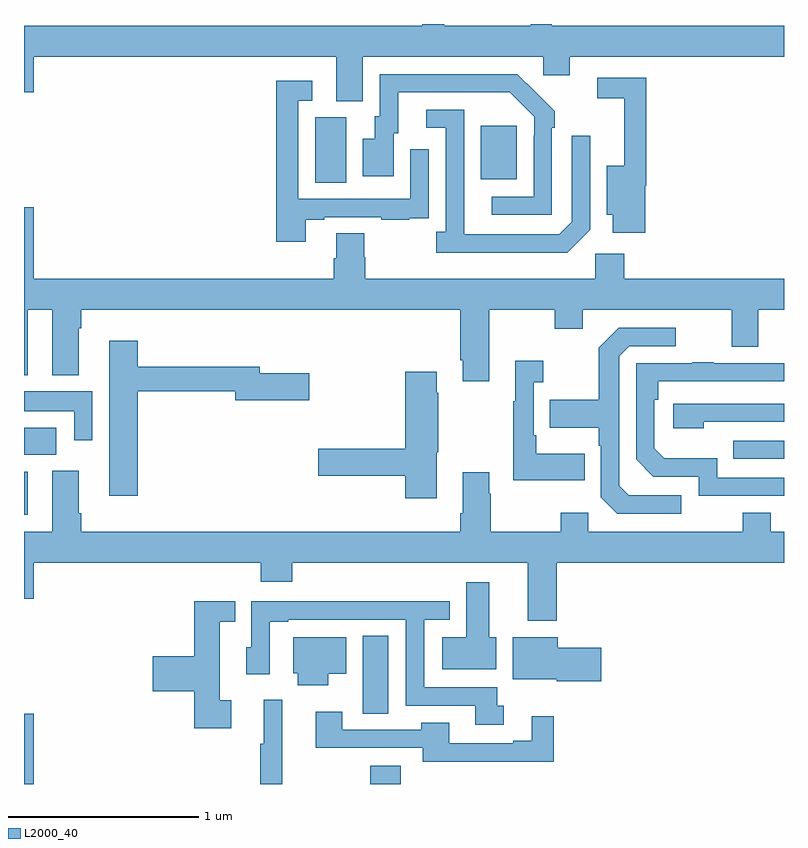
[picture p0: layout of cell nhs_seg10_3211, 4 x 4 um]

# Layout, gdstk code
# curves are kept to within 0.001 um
import gdstk
lib = gdstk.Library(unit=1e-6, precision=1e-09)
def R(c, l, rs):  # rectangles x0, y0, x1, y1
    for r in rs: c.add(gdstk.rectangle(r[:2], r[2:], *l))
def P(c, l, *ps):  # polygons
    for p in ps: c.add(gdstk.Polygon(p, *l))
L2000_40 = (2000, 40)

nhs_seg10_3211 = lib.new_cell('nhs_seg10_3211')
R(nhs_seg10_3211, L2000_40, [(285,1284.5,285.052,1284.871), (286.822,1284.5,286.982,1284.595), (286.784,1284.871,286.918,1285.28), (285,1285.917,285.019,1286.143), (288.733,1286.211,289,1286.307), (285,1286.234,285.169,1286.374), (286.532,1287.664,286.696,1288.008), (287.405,1287.683,287.593,1287.964)])
P(nhs_seg10_3211, L2000_40, [(287.733,1288.23),(287.872,1288.23),(287.872,1288.328),(289,1288.328),(289,1288.492),(287.778,1288.492),(287.778,1288.5),(287.666,1288.5),(287.666,1288.492),(287.213,1288.492),(287.213,1288.5),(287.095,1288.5),(287.095,1288.492),(285,1288.492),(285,1288.14),(285.052,1288.14),(285.052,1288.328),(286.643,1288.328),(286.643,1288.093),(286.783,1288.093),(286.783,1288.328),(287.733,1288.328)],
  [(287.778,1287.953),(287.793,1287.953),(287.793,1288.041),(287.596,1288.236),(286.872,1288.236),(286.872,1288.014),(286.847,1288.014),(286.847,1287.895),(286.784,1287.895),(286.784,1287.699),(286.945,1287.699),(286.945,1287.924),(286.969,1287.924),(286.969,1288.14),(287.557,1288.14),(287.685,1288.011),(287.685,1287.911),(287.682,1287.911),(287.682,1287.591),(287.463,1287.591),(287.463,1287.495),(287.778,1287.495)],
  [(288.269,1287.65),(288.275,1287.65),(288.275,1288.218),(288.018,1288.218),(288.018,1288.11),(288.158,1288.11),(288.158,1287.754),(288.068,1287.754),(288.068,1287.497),(288.098,1287.497),(288.098,1287.402),(288.269,1287.402)],
  [(286.483,1287.471),(286.579,1287.471),(286.579,1287.483),(286.879,1287.483),(286.879,1287.471),(287.027,1287.471),(287.027,1287.477),(287.129,1287.477),(287.129,1287.586),(287.13,1287.586),(287.13,1287.841),(287.034,1287.841),(287.034,1287.579),(286.443,1287.579),(286.443,1288.095),(286.516,1288.095),(286.516,1288.201),(286.327,1288.201),(286.327,1287.354),(286.483,1287.354)],
  [(287.979,1287.417),(287.979,1287.913),(287.883,1287.913),(287.883,1287.459),(287.817,1287.393),(287.316,1287.393),(287.316,1288.05),(287.118,1288.05),(287.118,1287.954),(287.22,1287.954),(287.22,1287.406),(287.169,1287.406),(287.169,1287.296),(287.858,1287.296)],
  [(285,1286.651),(285.019,1286.651),(285.019,1286.996),(285.149,1286.996),(285.149,1286.651),(285.289,1286.651),(285.289,1286.9),(285.302,1286.9),(285.302,1286.996),(287.297,1286.996),(287.297,1286.731),(287.309,1286.731),(287.309,1286.619),(287.449,1286.619),(287.449,1286.996),(287.794,1286.996),(287.794,1286.897),(287.941,1286.897),(287.941,1286.996),(288.725,1286.996),(288.725,1286.802),(288.865,1286.802),(288.865,1286.996),(289,1286.996),(289,1287.16),(288.158,1287.16),(288.158,1287.292),(288.006,1287.292),(288.006,1287.16),(286.796,1287.16),(286.796,1287.273),(286.791,1287.273),(286.791,1287.398),(286.643,1287.398),(286.643,1287.266),(286.631,1287.266),(286.631,1287.16),(285.052,1287.16),(285.052,1287.535),(285,1287.535)],
  [(288.46,1286.019),(288.183,1286.019),(288.132,1286.07),(288.132,1286.751),(288.186,1286.805),(288.43,1286.805),(288.43,1286.901),(288.129,1286.901),(288.024,1286.795),(288.024,1286.523),(287.767,1286.523),(287.767,1286.375),(288.024,1286.375),(288.024,1286.279),(288.036,1286.279),(288.036,1286.01),(288.123,1285.923),(288.46,1285.923)],
  [(285.599,1286.566),(286.112,1286.566),(286.112,1286.519),(286.501,1286.519),(286.501,1286.661),(286.24,1286.661),(286.24,1286.695),(285.599,1286.695),(285.599,1286.833),(285.449,1286.833),(285.449,1286.016),(285.599,1286.016)],
  [(287.951,1286.239),(287.695,1286.239),(287.695,1286.335),(287.682,1286.335),(287.682,1286.615),(287.734,1286.615),(287.734,1286.728),(287.585,1286.728),(287.585,1286.515),(287.574,1286.515),(287.574,1286.099),(287.951,1286.099)],
  [(289,1286.112),(288.648,1286.112),(288.648,1286.215),(288.371,1286.215),(288.318,1286.268),(288.318,1286.522),(288.338,1286.522),(288.338,1286.619),(289,1286.619),(289,1286.715),(288.629,1286.715),(288.629,1286.72),(288.517,1286.72),(288.517,1286.715),(288.222,1286.715),(288.222,1286.208),(288.312,1286.118),(288.552,1286.118),(288.552,1286.016),(289,1286.016)],
  [(287.173,1286.247),(287.181,1286.247),(287.181,1286.558),(287.173,1286.558),(287.173,1286.671),(287.006,1286.671),(287.006,1286.264),(286.548,1286.264),(286.548,1286.122),(287.006,1286.122),(287.006,1286.004),(287.173,1286.004)],
  [(285.36,1286.566),(285,1286.566),(285,1286.462),(285.264,1286.462),(285.264,1286.31),(285.36,1286.31)],
  [(288.578,1286.406),(289,1286.406),(289,1286.502),(288.417,1286.502),(288.417,1286.372),(288.578,1286.372)],
  [(287.804,1285.664),(289,1285.664),(289,1285.828),(288.931,1285.828),(288.931,1285.927),(288.784,1285.927),(288.784,1285.828),(287.97,1285.828),(287.97,1285.927),(287.824,1285.927),(287.824,1285.828),(287.457,1285.828),(287.457,1286.027),(287.449,1286.027),(287.449,1286.14),(287.309,1286.14),(287.309,1285.924),(287.297,1285.924),(287.297,1285.828),(285.302,1285.828),(285.302,1285.924),(285.289,1285.924),(285.289,1286.149),(285.149,1286.149),(285.149,1285.828),(285,1285.828),(285,1285.476),(285.052,1285.476),(285.052,1285.664),(286.247,1285.664),(286.247,1285.565),(286.412,1285.565),(286.412,1285.664),(287.651,1285.664),(287.651,1285.359),(287.804,1285.359)],
  [(287.485,1285.273),(287.449,1285.273),(287.449,1285.561),(287.327,1285.561),(287.327,1285.273),(287.201,1285.273),(287.201,1285.103),(287.485,1285.103)],
  [(287.524,1284.911),(287.492,1284.911),(287.492,1285.008),(287.106,1285.008),(287.106,1285.365),(287.242,1285.365),(287.242,1285.463),(286.495,1285.463),(286.495,1285.461),(286.197,1285.461),(286.197,1285.221),(286.169,1285.221),(286.169,1285.077),(286.293,1285.077),(286.293,1285.353),(286.39,1285.353),(286.39,1285.365),(287.01,1285.365),(287.01,1284.912),(287.375,1284.912),(287.375,1284.813),(287.524,1284.813)],
  [(286.09,1284.942),(286.03,1284.942),(286.03,1285.353),(286.112,1285.353),(286.112,1285.463),(285.896,1285.463),(285.896,1285.172),(285.678,1285.172),(285.678,1284.989),(285.896,1284.989),(285.896,1284.794),(286.09,1284.794)],
  [(288.037,1285.218),(287.809,1285.218),(287.809,1285.273),(287.573,1285.273),(287.573,1285.052),(287.805,1285.052),(287.805,1285.04),(288.037,1285.04)],
  [(286.6,1285.079),(286.696,1285.079),(286.696,1285.273),(286.418,1285.273),(286.418,1285.083),(286.442,1285.083),(286.442,1285.019),(286.6,1285.019)],
  [(286.36,1284.943),(286.262,1284.943),(286.262,1284.711),(286.243,1284.711),(286.243,1284.5),(286.36,1284.5)],
  [(287.789,1284.856),(287.672,1284.856),(287.672,1284.727),(287.576,1284.727),(287.576,1284.714),(287.239,1284.714),(287.239,1284.823),(287.092,1284.823),(287.092,1284.786),(286.675,1284.786),(286.675,1284.88),(286.535,1284.88),(286.535,1284.69),(287.099,1284.69),(287.099,1284.618),(287.789,1284.618)])

lib.write_gds('nhs_seg10_3211.gds')
